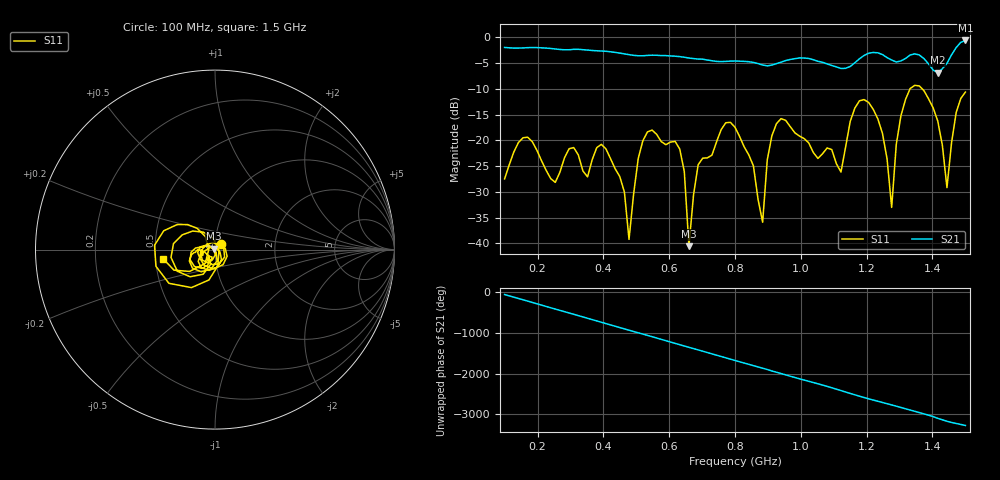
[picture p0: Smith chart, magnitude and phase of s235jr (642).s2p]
! NanoVNA-App
! Date: 2025-09-25 15:09:10
! Start: 100MHz Stop: 1,5GHz Points: 101
! S-Parameter data: F S11 S21 S12 S22
# Hz S RI R 50
!  Frequency  S11_Real  S11_Imag  S21_Real  S21_Imag  S12_Real  S12_Imag  S22_Real  S22_Imag
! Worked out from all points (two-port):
!   101 points, 100 MHz to 1.5 GHz, reference 50 ohm
!   highest |S21| = -0.61 dB at 1.5 GHz (marker M1); lowest = -6.9 dB at 1.416 GHz (marker M2)
!   |S21| within 3 dB of the highest: start of sweep to 602.4 MHz; 1.19 GHz to 1.254 GHz (63.99 MHz wide, 5.24 % of centre) (the widest 2 of 4)
!   lowest |S11| = -40.5 dB at 660 MHz (marker M3), VSWR 1.02, Z = 49.3 + j0.592 ohm
!   |S11| at or under -10 dB: start of sweep to 1.332 GHz; 1.369 GHz to end of sweep
!   S12 and S22 are empty: the file has one direction only
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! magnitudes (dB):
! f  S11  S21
! 100 MHz  -27.5  -2.0
! 170 MHz  -19.4  -2.0
! 338 MHz  -25.9  -2.4
! 408 MHz  -21.7  -2.7
! 478 MHz  -39.2  -3.4
! 520 MHz  -20.1  -3.6
! 576 MHz  -20.2  -3.5
! 632 MHz  -21.7  -3.7
! 660 MHz  -40.5  -4.0
! 688 MHz  -24.7  -4.2
! 800 MHz  -17.5  -4.6
! 884 MHz  -35.9  -5.4
! 926 MHz  -16.7  -5.1
! 1.038 GHz  -22.4  -4.3
! 1.122 GHz  -26.1  -6.0
! 1.206 GHz  -12.6  -3.1
! 1.276 GHz  -33.0  -4.4
! 1.29 GHz  -20.8  -4.8
! 1.332 GHz  -9.9  -3.4
! 1.416 GHz  -16.2  -6.9
! 1.444 GHz  -29.2  -5.0
! 1.5 GHz  -10.6  -0.6
